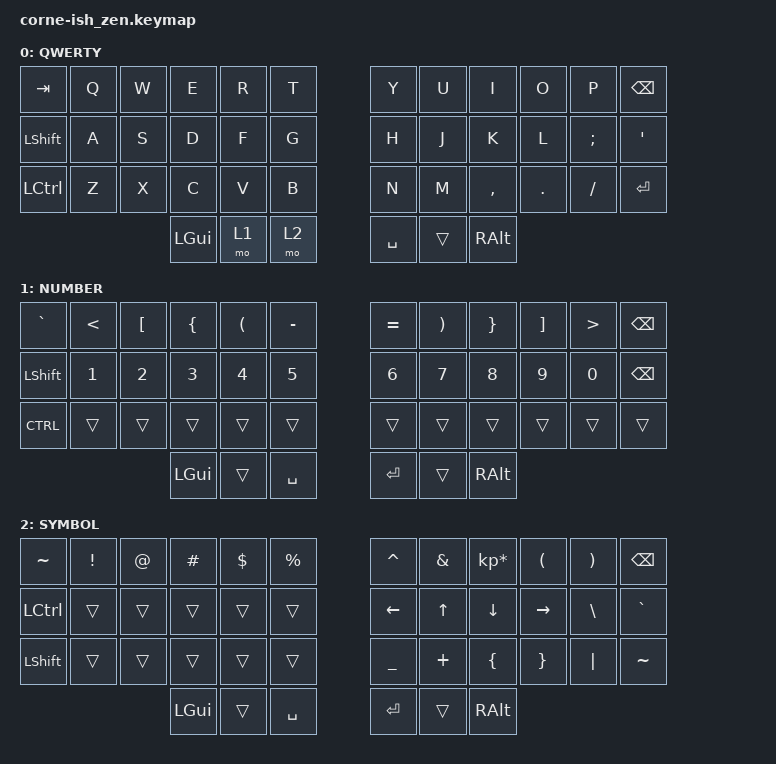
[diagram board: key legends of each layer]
/*
*
* Copyright (c) 2021 Darryl deHaan
* SPDX-License-Identifier: MIT
*
*/

#include <behaviors.dtsi>
#include <dt-bindings/zmk/keys.h>
#include <dt-bindings/zmk/bt.h>

/ {
        keymap {
                compatible = "zmk,keymap";

                default_layer {
                        label = "QWERTY";
// -----------------------------------------------------------------------------------------
// |  TAB |  Q  |  W  |  E  |  R  |  T  |   |  Y  |  U   |  I  |  O  |  P  | BKSP |
// | SHFT |  A  |  S  |  D  |  F  |  G  |   |  H  |  J   |  K  |  L  |  ;  |  '   |
// | SHFT |  Z  |  X  |  C  |  V  |  B  |   |  N  |  M   |  ,  |  .  |  /  | ESC  |
//                    | GUI | LWR | SPC |   | ENT | RSE  | ALT |
                        bindings = <
   &kp TAB   &kp Q &kp W &kp E &kp R &kp T   &kp Y &kp U  &kp I     &kp O   &kp P    &kp BSPC
   &kp LSHFT &kp A &kp S &kp D &kp F &kp G   &kp H &kp J  &kp K     &kp L   &kp SEMI &kp SQT
   &kp LCTRL &kp Z &kp X &kp C &kp V &kp B   &kp N &kp M  &kp COMMA &kp DOT &kp FSLH &kp RET
                  &kp LGUI &mo 1 &mo 2   &kp SPACE &trans &kp RALT
                        >;
                };

                lower_layer {
                        label = "NUMBER";
                        bindings = <
   &kp GRAVE    &kp LT    &kp LBKT     &kp LBRC     &kp LPAR     &kp MINUS      &kp EQUAL &kp RPAR &kp RBRC &kp RBKT &kp GT &kp BSPC    
   &kp LSHFT    &kp N1    &kp N2       &kp N3       &kp N4       &kp N5         &kp N6   &kp N7   &kp N8 &kp N9    &kp N0 &kp BSPC
   &kp CTRL  &trans       &trans       &trans       &trans       &trans         &trans   &trans   &trans &trans    &trans &trans
                          	        &kp LGUI     &trans       &kp SPACE      &kp RET  &trans   &kp RALT
                        >;
                };

                raise_layer {
                        label = "SYMBOL";
// -----------------------------------------------------------------------------------------
// |  TAB |  !  |  @  |  #  |  $  |  %  |   |  ^  |  &  |  *  |  (  |  )  | BKSP |
// | CTRL |     |     |     |     |     |   |  -  |  =  |  [  |  ]  |  \  |  `   |
// | SHFT |     |     |     |     |     |   |  _  |  +  |  {  |  }  | "|" |  ~   |
//                    | GUI |     | SPC |   | ENT |     | ALT |
                        bindings = <
   &kp TILDE  &kp EXCL &kp AT &kp HASH &kp DLLR &kp PRCNT   &kp CARET &kp AMPS  &kp KP_MULTIPLY &kp LPAR &kp RPAR &kp BSPC
   &kp LCTRL &trans   &trans &trans   &trans   &trans      &kp LEFT &kp UP &kp DOWN &kp RIGHT &kp BSLH &kp GRAVE
   &kp LSHFT &trans   &trans &trans   &trans   &trans      &kp UNDER &kp PLUS  &kp LBRC        &kp RBRC &kp PIPE &kp TILDE
                    	     &kp LGUI &trans   &kp SPACE   &kp RET   &trans    &kp RALT
                        >;
                };
        };
};
